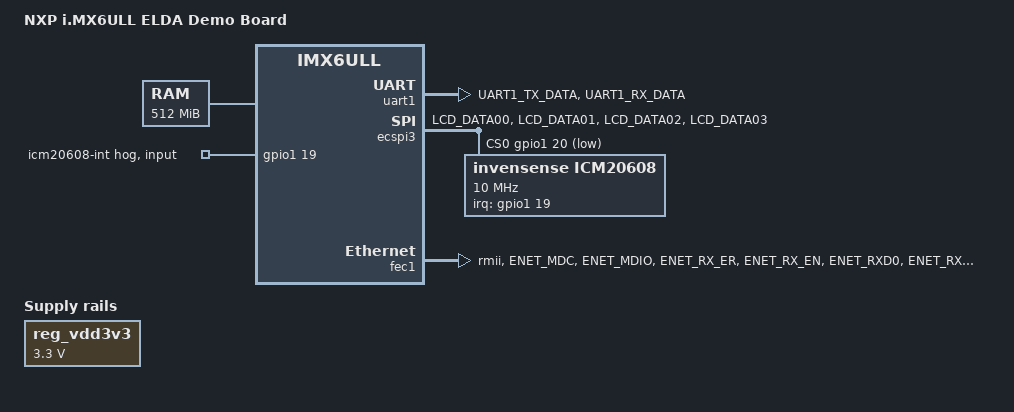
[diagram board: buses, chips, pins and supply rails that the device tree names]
/dts-v1/;

#include "imx6ull.dtsi"

/ {
	model = "NXP i.MX6ULL ELDA Demo Board";
	compatible = "fsl,imx6ull-elda-demo", "fsl,imx6ull";

	chosen {
		stdout-path = &uart1;
	};

	memory {
		reg = <0x80000000 0x20000000>;
	};

	regulators {
		compatible = "simple-bus";
		#address-cells = <1>;
		#size-cells = <0>;

		reg_vdd3v3: regulator-vdd3v3 {
			compatible = "regulator-fixed";
			regulator-name = "VDD_3V3";
			regulator-min-microvolt = <3300000>;
			regulator-max-microvolt = <3300000>;
			regulator-always-on;
		};
	};
};

&cpu0 {
	arm-supply = <&reg_vdd3v3>;
	soc-supply = <&reg_vdd3v3>;
};

&clks {
	assigned-clocks = <&clks IMX6UL_CLK_ARM>,
			  <&clks IMX6UL_CLK_PLL1_SW>,
			  <&clks IMX6UL_CLK_PLL1_SYS>,
			  <&clks IMX6UL_CLK_STEP>,
			  <&clks IMX6UL_CLK_PLL2_BUS>,
			  <&clks IMX6UL_CLK_PLL3_USB_OTG>,
			  <&clks IMX6UL_CLK_PLL4_AUDIO>,
			  <&clks IMX6UL_CLK_PLL5_VIDEO>,
			  <&clks IMX6UL_CLK_PLL6_ENET>,
			  <&clks IMX6UL_CLK_PLL7_USB_HOST>;
	assigned-clock-rates = <792000000>, <792000000>, <396000000>,
			       <396000000>, <528000000>, <480000000>,
			       <722534400>, <650000000>, <500000000>,
			       <480000000>;
};

&uart1 {
	pinctrl-names = "default";
	pinctrl-0 = <&pinctrl_uart1>;
	status = "okay";
};

&iomuxc {
	pinctrl_uart1: uart1grp {
		fsl,pins = <
			MX6UL_PAD_UART1_TX_DATA__UART1_DCE_TX 0x1b0b0
			MX6UL_PAD_UART1_RX_DATA__UART1_DCE_RX 0x1b0b0
		>;
	};

	pinctrl_ecspi3: ecspi3grp {
		fsl,pins = <
			MX6UL_PAD_LCD_DATA00__ECSPI3_MISO  0x10b0
			MX6UL_PAD_LCD_DATA01__ECSPI3_MOSI  0x10b0
			MX6UL_PAD_LCD_DATA02__ECSPI3_SCLK  0x10b0
		>;
	};

	pinctrl_ecspi3_cs: ecspi3csgrp {
		fsl,pins = <
			MX6UL_PAD_LCD_DATA03__GPIO1_IO20  0x10b0
		>;
	};

	pinctrl_icm20608_irq: icm20608irqgrp {
		fsl,pins = <
			MX6UL_PAD_UART1_RTS_B__GPIO1_IO19  0x1b0b0
		>;
	};
};

&ecspi3 {
	pinctrl-names = "default";
	pinctrl-0 = <&pinctrl_ecspi3 &pinctrl_ecspi3_cs>;
	cs-gpios = <&gpio1 20 GPIO_ACTIVE_LOW>;
	status = "okay";

	icm20608@0 {
		compatible = "invensense,icm20608";
		reg = <0>;
		spi-max-frequency = <10000000>;
		interrupt-parent = <&gpio1>;
		interrupts = <19 IRQ_TYPE_EDGE_RISING>;
	};
};

&gpio1 {
	icm20608-int {
		gpio-hog;
		gpios = <19 GPIO_ACTIVE_HIGH>;
		input;
		pinctrl-names = "default";
		pinctrl-0 = <&pinctrl_icm20608_irq>;
	};
};

&fec1 {
	pinctrl-names = "default";
	pinctrl-0 = <&pinctrl_enet1>;
	phy-mode = "rmii";
	status = "okay";
};

&iomuxc {
	pinctrl_enet1: enet1grp {
		fsl,pins = <
			MX6UL_PAD_ENET_MDC__ENET_MDC           0x1b0b0
			MX6UL_PAD_ENET_MDIO__ENET_MDIO         0x1b0b0
			MX6UL_PAD_ENET_RX_ER__ENET_RX_ER       0x1b0b0
			MX6UL_PAD_ENET_RX_EN__ENET_RX_EN       0x1b0b0
			MX6UL_PAD_ENET_RXD0__ENET_RX_DATA0     0x1b0b0
			MX6UL_PAD_ENET_RXD1__ENET_RX_DATA1     0x1b0b0
			MX6UL_PAD_ENET_TX_EN__ENET_TX_EN       0x1b0b0
			MX6UL_PAD_ENET_TXD0__ENET_TX_DATA0     0x1b0b0
			MX6UL_PAD_ENET_TXD1__ENET_TX_DATA1     0x1b0b0
			MX6UL_PAD_ENET_CRS__GPIO2_IO08         0x1b0b0
		>;
	};
};
